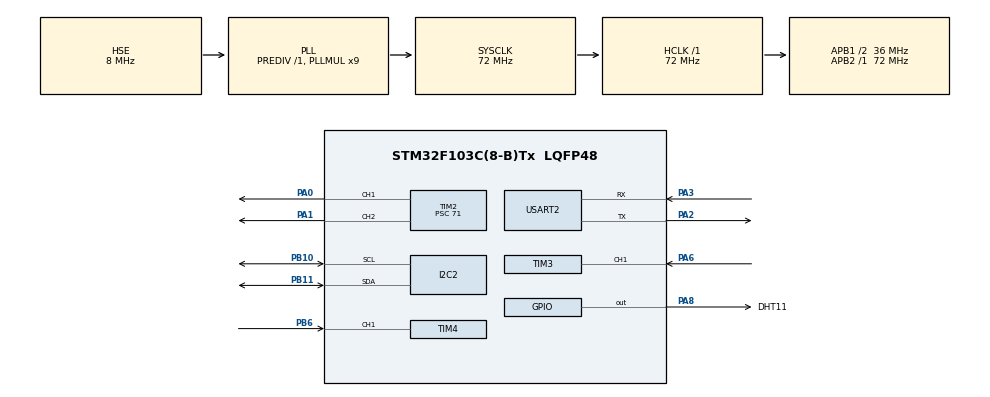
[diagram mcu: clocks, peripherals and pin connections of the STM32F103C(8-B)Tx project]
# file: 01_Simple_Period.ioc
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FREERTOS.Tasks01=defaultTask,-3,128,StartDefaultTask,Default,NULL,Dynamic,NULL,NULL;Task_Sensor_Dht,1,256,StartTask_Sensor_Dht,Default,NULL,Dynamic,NULL,NULL;Task_Fre_1,2,128,StartTaskFre_1,Default,NULL,Dynamic,NULL,NULL;Task_Fre_2,2,128,StartTaskFre_2,Default,NULL,Dynamic,NULL,NULL;Task_Lcd,0,128,StartTask05,Default,NULL,Dynamic,NULL,NULL;TaskUart,-1,128,StartTaskUart,Default,NULL,Dynamic,NULL,NULL
FREERTOS.configTOTAL_HEAP_SIZE=6000
Mcu.Family=STM32F1
Mcu.Name=STM32F103C(8-B)Tx
Mcu.Package=LQFP48
NVIC.PriorityGroup=NVIC_PRIORITYGROUP_4
NVIC.TIM1_UP_IRQn=true\:5\:0\:false\:false\:true\:true\:true\:true\:true
NVIC.TIM3_IRQn=true\:5\:0\:false\:false\:true\:true\:true\:true\:true
NVIC.TIM4_IRQn=true\:5\:0\:false\:false\:true\:true\:true\:true\:true
NVIC.USART2_IRQn=true\:5\:0\:false\:false\:true\:true\:true\:true\:true
PA0-WKUP.Signal=S_TIM2_CH1_ETR
PA1.Signal=S_TIM2_CH2
PA13.Mode=Serial_Wire
PA13.Signal=SYS_JTMS-SWDIO
PA14.Mode=Serial_Wire
PA14.Signal=SYS_JTCK-SWCLK
PA2.Mode=Asynchronous
PA2.Signal=USART2_TX
PA3.Mode=Asynchronous
PA3.Signal=USART2_RX
PA6.Signal=S_TIM3_CH1
PA8.GPIO_Label=DHT11
PA8.PinState=GPIO_PIN_SET
PA8.Signal=GPIO_Output
PB10.Mode=I2C
PB10.Signal=I2C2_SCL
PB11.Mode=I2C
PB11.Signal=I2C2_SDA
PB6.Signal=S_TIM4_CH1
PD0-OSC_IN.Mode=HSE-External-Oscillator
PD0-OSC_IN.Signal=RCC_OSC_IN
PD1-OSC_OUT.Mode=HSE-External-Oscillator
PD1-OSC_OUT.Signal=RCC_OSC_OUT
ProjectManager.HeapSize=0x200
ProjectManager.StackSize=0x400
ProjectManager.TargetToolchain=STM32CubeIDE
RCC.AHBFreq_Value=72000000
RCC.APB1CLKDivider=RCC_HCLK_DIV2
RCC.APB1Freq_Value=36000000
RCC.APB1TimFreq_Value=72000000
RCC.APB2Freq_Value=72000000
RCC.APB2TimFreq_Value=72000000
RCC.HCLKFreq_Value=72000000
RCC.PLLMUL=RCC_PLL_MUL9
RCC.PLLSourceVirtual=RCC_PLLSOURCE_HSE
RCC.SYSCLKFreq_VALUE=72000000
RCC.SYSCLKSource=RCC_SYSCLKSOURCE_PLLCLK
RCC.USBFreq_Value=72000000
SH.S_TIM2_CH1_ETR.0=TIM2_CH1,PWM Generation1 CH1
SH.S_TIM2_CH2.0=TIM2_CH2,PWM Generation2 CH2
SH.S_TIM3_CH1.0=TIM3_CH1,Input_Capture1_from_TI1
SH.S_TIM4_CH1.0=TIM4_CH1,Input_Capture1_from_TI1
TIM1.Period=49999
TIM1.Prescaler=7199
TIM2.Channel-PWM\ Generation1\ CH1=TIM_CHANNEL_1
TIM2.Channel-PWM\ Generation2\ CH2=TIM_CHANNEL_2
TIM2.Period=999
TIM2.Prescaler=71
TIM2.Pulse-PWM\ Generation1\ CH1=500
TIM2.Pulse-PWM\ Generation2\ CH2=300
TIM3.Channel-Input_Capture1_from_TI1=TIM_CHANNEL_1
TIM3.Prescaler=71
TIM4.Channel-Input_Capture1_from_TI1=TIM_CHANNEL_1
TIM4.Period=0xffff - 1
TIM4.Prescaler=72-1
USART2.VirtualMode=VM_ASYNC
VP_FREERTOS_VS_CMSIS_V1.Mode=CMSIS_V1
VP_TIM1_VS_ClockSourceINT.Mode=Internal
VP_TIM4_VS_ClockSourceINT.Mode=Internal
board=custom

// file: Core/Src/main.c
/* USER CODE BEGIN Header */
/**
  ******************************************************************************
  * @file           : main.c
  * @brief          : Main program body
  ******************************************************************************
  * @attention
  *
  * <h2><center>&copy; Copyright (c) 2020 STMicroelectronics.
  * All rights reserved.</center></h2>
  *
  * This software component is licensed by ST under BSD 3-Clause license,
  * the "License"; You may not use this file except in compliance with the
  * License. You may obtain a copy of the License at:
  *                        opensource.org/licenses/BSD-3-Clause
  *
  ******************************************************************************
  */
/* USER CODE END Header */
#include "main.h"
#include "cmsis_os.h"
#include "DHT11/DHT.h"
#include "UART/my_uart.h"
#include "Frequency/Frequency.h"
#include "LCD/LCD.h"
/* USER CODE BEGIN Includes */
//#include "DHT11/DHT.h"
/* USER CODE END Includes */

I2C_HandleTypeDef hi2c2;

TIM_HandleTypeDef htim1;
TIM_HandleTypeDef htim2;
TIM_HandleTypeDef htim3;
TIM_HandleTypeDef htim4;

UART_HandleTypeDef huart2;

osThreadId defaultTaskHandle;
osThreadId Task_Sensor_DhtHandle;
osThreadId Task_Fre_1Handle;
osThreadId Task_Fre_2Handle;
osThreadId Task_LcdHandle;
osThreadId TaskUartHandle;

//osSemaphoreId semFre1Handle;
//osSemaphoreId semFre2Handle;

/* USER CODE BEGIN PV */
//osMutexId dataMutexHandle;
//SensorData_t sharedData;
/* USER CODE END PV */

void SystemClock_Config(void);
static void MX_GPIO_Init(void);
static void MX_I2C2_Init(void);
static void MX_TIM4_Init(void);
static void MX_USART2_UART_Init(void);
static void MX_TIM2_Init(void);
static void MX_TIM3_Init(void);
static void MX_TIM1_Init(void);
void StartDefaultTask(void const * argument);
void StartTask_Sensor_Dht(void const * argument);
void StartTaskFre_1(void const * argument);
void StartTaskFre_2(void const * argument);
void StartTask05(void const * argument);
void StartTaskUart(void const * argument);

/* USER CODE BEGIN 0 */
typedef struct {
    float temperature;
    float humidity;
    uint32_t fre1;
    uint32_t fre2;
} SensorData_t;
//
//osMessageQId sensorQueueHandle;
//
//osMessageQId queue_DHT_to_Fre1Handle;
//osMessageQId queue_Fre1_to_Fre2Handle;
//osMessageQId queue_Fre2_to_LCDHandle;
//osMessageQId queue_LCD_to_UARTHandle;
osMutexId dataMutexHandle;
SensorData_t sharedData;

uint32_t delayTaskDHT = 1000;
uint32_t delayTaskFre1 = 800;
uint32_t delayTaskFre2 = 900;
uint32_t delayTaskLCD = 2000;
uint32_t delayTaskUART = 4000;

//osThreadId taskDHTHandle;
//osThreadId taskFre1Handle;
//osThreadId taskFre2Handle;
//osThreadId taskLCDHandle;
//osThreadId taskUARTHandle;
/* USER CODE END 0 */

int main(void)
{

  /* MCU Configuration--------------------------------------------------------*/

  /* Reset of all peripherals, Initializes the Flash interface and the Systick. */
  HAL_Init();

  /* Configure the system clock */
  SystemClock_Config();

  /* Initialize all configured peripherals */
  MX_GPIO_Init();
  MX_I2C2_Init();
  MX_TIM4_Init();
  MX_USART2_UART_Init();
  MX_TIM2_Init();
  MX_TIM3_Init();
  MX_TIM1_Init();
  /* USER CODE BEGIN 2 */
//  HAL_TIM_Base_Start(&htim4);
  HAL_TIM_Base_Start_IT(&htim1);
  HAL_TIM_PWM_Start(&htim2, TIM_CHANNEL_1);
  HAL_TIM_PWM_Start(&htim2, TIM_CHANNEL_2);
  Frequency1_Init(&htim3); // HAL_TIM_IC_Start_IT
  Frequency2_Init(&htim4);
  UART_StartReceive_IT();
  DHT11_Init(&htim4);
  LCD_Init(&hi2c2);

  osMutexDef(dataMutex);
  dataMutexHandle = osMutexCreate(osMutex(dataMutex));
  /* USER CODE END 2 */

  /* USER CODE BEGIN RTOS_QUEUES */
  /* USER CODE BEGIN RTOS_QUEUES */
  // Khởi tạo queue với kích thước phù hợp
//  osMessageQDef(sensorQueue, 4, SensorData_t);
//  sensorQueueHandle = osMessageCreate(osMessageQ(sensorQueue), NULL);

//  osMessageQDef(queue_DHT_to_Fre1, 4, SensorData_t);
//  queue_DHT_to_Fre1Handle = osMessageCreate(osMessageQ(queue_DHT_to_Fre1), NULL);
//
//  osMessageQDef(queue_Fre1_to_Fre2, 4, SensorData_t);
//  queue_Fre1_to_Fre2Handle = osMessageCreate(osMessageQ(queue_Fre1_to_Fre2), NULL);
//
//  osMessageQDef(queue_Fre2_to_LCD, 4, SensorData_t);
//  queue_Fre2_to_LCDHandle = osMessageCreate(osMessageQ(queue_Fre2_to_LCD), NULL);
//
//  osMessageQDef(queue_LCD_to_UART, 4, SensorData_t);
//  queue_LCD_to_UARTHandle = osMessageCreate(osMessageQ(queue_LCD_to_UART), NULL);

  /* USER CODE END RTOS_QUEUES */

  /* Create the thread(s) */
  /* definition and creation of defaultTask */
  osThreadDef(defaultTask, StartDefaultTask, osPriorityIdle, 0, 128);
  defaultTaskHandle = osThreadCreate(osThread(defaultTask), NULL);

  /* definition and creation of Task_Sensor_Dht */
  osThreadDef(Task_Sensor_Dht, StartTask_Sensor_Dht, osPriorityAboveNormal, 0, 256);
  Task_Sensor_DhtHandle = osThreadCreate(osThread(Task_Sensor_Dht), NULL);

  /* definition and creation of Task_Fre_1 */
  osThreadDef(Task_Fre_1, StartTaskFre_1, osPriorityHigh, 0, 128);
  Task_Fre_1Handle = osThreadCreate(osThread(Task_Fre_1), NULL);

  /* definition and creation of Task_Fre_2 */
  osThreadDef(Task_Fre_2, StartTaskFre_2, osPriorityHigh, 0, 128);
  Task_Fre_2Handle = osThreadCreate(osThread(Task_Fre_2), NULL);

  /* definition and creation of Task_Lcd */
  osThreadDef(Task_Lcd, StartTask05, osPriorityNormal, 0, 128);
  Task_LcdHandle = osThreadCreate(osThread(Task_Lcd), NULL);

  /* definition and creation of TaskUart */
  osThreadDef(TaskUart, StartTaskUart, osPriorityBelowNormal, 0, 128);
  TaskUartHandle = osThreadCreate(osThread(TaskUart), NULL);

  /* Start scheduler */
  osKernelStart();

  /* We should never get here as control is now taken by the scheduler */
  /* Infinite loop */
  while (1)
  {

}
}
void SystemClock_Config(void)
{
  RCC_OscInitTypeDef RCC_OscInitStruct = {0};
  RCC_ClkInitTypeDef RCC_ClkInitStruct = {0};

  /** Initializes the RCC Oscillators according to the specified parameters
  * in the RCC_OscInitTypeDef structure.
  */
  RCC_OscInitStruct.OscillatorType = RCC_OSCILLATORTYPE_HSE;
  RCC_OscInitStruct.HSEState = RCC_HSE_ON;
  RCC_OscInitStruct.HSEPredivValue = RCC_HSE_PREDIV_DIV1;
  RCC_OscInitStruct.HSIState = RCC_HSI_ON;
  RCC_OscInitStruct.PLL.PLLState = RCC_PLL_ON;
  RCC_OscInitStruct.PLL.PLLSource = RCC_PLLSOURCE_HSE;
  RCC_OscInitStruct.PLL.PLLMUL = RCC_PLL_MUL9;
  if (HAL_RCC_OscConfig(&RCC_OscInitStruct) != HAL_OK)
  {
    Error_Handler();
  }

  /** Initializes the CPU, AHB and APB buses clocks
  */
  RCC_ClkInitStruct.ClockType = RCC_CLOCKTYPE_HCLK|RCC_CLOCKTYPE_SYSCLK
                              |RCC_CLOCKTYPE_PCLK1|RCC_CLOCKTYPE_PCLK2;
  RCC_ClkInitStruct.SYSCLKSource = RCC_SYSCLKSOURCE_PLLCLK;
  RCC_ClkInitStruct.AHBCLKDivider = RCC_SYSCLK_DIV1;
  RCC_ClkInitStruct.APB1CLKDivider = RCC_HCLK_DIV2;
  RCC_ClkInitStruct.APB2CLKDivider = RCC_HCLK_DIV1;

  if (HAL_RCC_ClockConfig(&RCC_ClkInitStruct, FLASH_LATENCY_2) != HAL_OK)
  {
    Error_Handler();
  }
}

void MX_I2C2_Init(void)
{

  hi2c2.Instance = I2C2;
  hi2c2.Init.ClockSpeed = 100000;
  hi2c2.Init.DutyCycle = I2C_DUTYCYCLE_2;
  hi2c2.Init.OwnAddress1 = 0;
  hi2c2.Init.AddressingMode = I2C_ADDRESSINGMODE_7BIT;
  hi2c2.Init.DualAddressMode = I2C_DUALADDRESS_DISABLE;
  hi2c2.Init.OwnAddress2 = 0;
  hi2c2.Init.GeneralCallMode = I2C_GENERALCALL_DISABLE;
  hi2c2.Init.NoStretchMode = I2C_NOSTRETCH_DISABLE;
  if (HAL_I2C_Init(&hi2c2) != HAL_OK)
  {
    Error_Handler();
  }

}

void MX_TIM1_Init(void)
{

  TIM_ClockConfigTypeDef sClockSourceConfig = {0};
  TIM_MasterConfigTypeDef sMasterConfig = {0};

  htim1.Instance = TIM1;
  htim1.Init.Prescaler = 7199;
  htim1.Init.CounterMode = TIM_COUNTERMODE_UP;
  htim1.Init.Period = 49999;
  htim1.Init.ClockDivision = TIM_CLOCKDIVISION_DIV1;
  htim1.Init.RepetitionCounter = 0;
  htim1.Init.AutoReloadPreload = TIM_AUTORELOAD_PRELOAD_DISABLE;
  if (HAL_TIM_Base_Init(&htim1) != HAL_OK)
  {
    Error_Handler();
  }
  sClockSourceConfig.ClockSource = TIM_CLOCKSOURCE_INTERNAL;
  if (HAL_TIM_ConfigClockSource(&htim1, &sClockSourceConfig) != HAL_OK)
  {
    Error_Handler();
  }
  sMasterConfig.MasterOutputTrigger = TIM_TRGO_RESET;
  sMasterConfig.MasterSlaveMode = TIM_MASTERSLAVEMODE_DISABLE;
  if (HAL_TIMEx_MasterConfigSynchronization(&htim1, &sMasterConfig) != HAL_OK)
  {
    Error_Handler();
  }

}

 void MX_TIM2_Init(void)
{

  TIM_MasterConfigTypeDef sMasterConfig = {0};
  TIM_OC_InitTypeDef sConfigOC = {0};

  htim2.Instance = TIM2;
  htim2.Init.Prescaler = 71;
  htim2.Init.CounterMode = TIM_COUNTERMODE_UP;
  htim2.Init.Period = 999;
  htim2.Init.ClockDivision = TIM_CLOCKDIVISION_DIV1;
  htim2.Init.AutoReloadPreload = TIM_AUTORELOAD_PRELOAD_DISABLE;
  if (HAL_TIM_PWM_Init(&htim2) != HAL_OK)
  {
    Error_Handler();
  }
  sMasterConfig.MasterOutputTrigger = TIM_TRGO_RESET;
  sMasterConfig.MasterSlaveMode = TIM_MASTERSLAVEMODE_DISABLE;
  if (HAL_TIMEx_MasterConfigSynchronization(&htim2, &sMasterConfig) != HAL_OK)
  {
    Error_Handler();
  }
  sConfigOC.OCMode = TIM_OCMODE_PWM1;
  sConfigOC.Pulse = 500;
  sConfigOC.OCPolarity = TIM_OCPOLARITY_HIGH;
  sConfigOC.OCFastMode = TIM_OCFAST_DISABLE;
  if (HAL_TIM_PWM_ConfigChannel(&htim2, &sConfigOC, TIM_CHANNEL_1) != HAL_OK)
  {
    Error_Handler();
  }
  sConfigOC.Pulse = 300;
  if (HAL_TIM_PWM_ConfigChannel(&htim2, &sConfigOC, TIM_CHANNEL_2) != HAL_OK)
  {
    Error_Handler();
  }
  HAL_TIM_MspPostInit(&htim2);

}

void MX_TIM3_Init(void)
{

  TIM_MasterConfigTypeDef sMasterConfig = {0};
  TIM_IC_InitTypeDef sConfigIC = {0};

  htim3.Instance = TIM3;
  htim3.Init.Prescaler = 71;
  htim3.Init.CounterMode = TIM_COUNTERMODE_UP;
  htim3.Init.Period = 65535;
  htim3.Init.ClockDivision = TIM_CLOCKDIVISION_DIV1;
  htim3.Init.AutoReloadPreload = TIM_AUTORELOAD_PRELOAD_DISABLE;
  if (HAL_TIM_IC_Init(&htim3) != HAL_OK)
  {
    Error_Handler();
  }
  sMasterConfig.MasterOutputTrigger = TIM_TRGO_RESET;
  sMasterConfig.MasterSlaveMode = TIM_MASTERSLAVEMODE_DISABLE;
  if (HAL_TIMEx_MasterConfigSynchronization(&htim3, &sMasterConfig) != HAL_OK)
  {
    Error_Handler();
  }
  sConfigIC.ICPolarity = TIM_INPUTCHANNELPOLARITY_RISING;
  sConfigIC.ICSelection = TIM_ICSELECTION_DIRECTTI;
  sConfigIC.ICPrescaler = TIM_ICPSC_DIV1;
  sConfigIC.ICFilter = 0;
  if (HAL_TIM_IC_ConfigChannel(&htim3, &sConfigIC, TIM_CHANNEL_1) != HAL_OK)
  {
    Error_Handler();
  }

}

void MX_TIM4_Init(void)
{

  TIM_ClockConfigTypeDef sClockSourceConfig = {0};
  TIM_MasterConfigTypeDef sMasterConfig = {0};
  TIM_IC_InitTypeDef sConfigIC = {0};

  htim4.Instance = TIM4;
  htim4.Init.Prescaler = 72-1;
  htim4.Init.CounterMode = TIM_COUNTERMODE_UP;
  htim4.Init.Period = 0xffff - 1;
  htim4.Init.ClockDivision = TIM_CLOCKDIVISION_DIV1;
  htim4.Init.AutoReloadPreload = TIM_AUTORELOAD_PRELOAD_DISABLE;
  if (HAL_TIM_Base_Init(&htim4) != HAL_OK)
  {
    Error_Handler();
  }
  sClockSourceConfig.ClockSource = TIM_CLOCKSOURCE_INTERNAL;
  if (HAL_TIM_ConfigClockSource(&htim4, &sClockSourceConfig) != HAL_OK)
  {
    Error_Handler();
  }
  if (HAL_TIM_IC_Init(&htim4) != HAL_OK)
  {
    Error_Handler();
  }
  sMasterConfig.MasterOutputTrigger = TIM_TRGO_RESET;
  sMasterConfig.MasterSlaveMode = TIM_MASTERSLAVEMODE_DISABLE;
  if (HAL_TIMEx_MasterConfigSynchronization(&htim4, &sMasterConfig) != HAL_OK)
  {
    Error_Handler();
  }
  sConfigIC.ICPolarity = TIM_INPUTCHANNELPOLARITY_RISING;
  sConfigIC.ICSelection = TIM_ICSELECTION_DIRECTTI;
  sConfigIC.ICPrescaler = TIM_ICPSC_DIV1;
  sConfigIC.ICFilter = 0;
  if (HAL_TIM_IC_ConfigChannel(&htim4, &sConfigIC, TIM_CHANNEL_1) != HAL_OK)
  {
    Error_Handler();
  }

}

void MX_USART2_UART_Init(void)
{

  huart2.Instance = USART2;
  huart2.Init.BaudRate = 115200;
  huart2.Init.WordLength = UART_WORDLENGTH_8B;
  huart2.Init.StopBits = UART_STOPBITS_1;
  huart2.Init.Parity = UART_PARITY_NONE;
  huart2.Init.Mode = UART_MODE_TX_RX;
  huart2.Init.HwFlowCtl = UART_HWCONTROL_NONE;
  huart2.Init.OverSampling = UART_OVERSAMPLING_16;
  if (HAL_UART_Init(&huart2) != HAL_OK)
  {
    Error_Handler();
  }

}

void MX_GPIO_Init(void)
{
  GPIO_InitTypeDef GPIO_InitStruct = {0};

  /* GPIO Ports Clock Enable */
  __HAL_RCC_GPIOD_CLK_ENABLE();
  __HAL_RCC_GPIOA_CLK_ENABLE();
  __HAL_RCC_GPIOB_CLK_ENABLE();

  /*Configure GPIO pin Output Level */
  HAL_GPIO_WritePin(DHT11_GPIO_Port, DHT11_Pin, GPIO_PIN_SET);

  /*Configure GPIO pin : DHT11_Pin */
  GPIO_InitStruct.Pin = DHT11_Pin;
  GPIO_InitStruct.Mode = GPIO_MODE_OUTPUT_PP;
  GPIO_InitStruct.Pull = GPIO_NOPULL;
  GPIO_InitStruct.Speed = GPIO_SPEED_FREQ_LOW;
  HAL_GPIO_Init(DHT11_GPIO_Port, &GPIO_InitStruct);

}

void StartDefaultTask(void const * argument)
{
  for(;;)
  {
    osDelay(1);
  }
}

//void StartTask_Sensor_Dht(void const * argument)
//{
//  /* USER CODE BEGIN StartTask_Sensor_Dht */
////	UART_SendString(&huart2, "StartTask_Sensor_Dht");
////	float temperature = 0, humidity = 0;
////	uint8_t DHT_OK = 1;
////	SensorData_t data;
////  /* Infinite loop */
////  for(;;)
////  {
////	if(DHT11_Read(&temperature, &humidity) == DHT_OK) {
////        data.temperature = temperature;
////        data.humidity = humidity;
////        UART_SendInt(&huart2, data.humidity);
////        UART_SendInt(&huart2, data.temperature);
////        UART_SendString(&huart2, "PreOngoingTask_Sensor_Dht");
////		osMessagePut(sensorQueueHandle, (uint32_t)&data, osWaitForever);
////		UART_SendString(&huart2, "OngoingTask_Sensor_Dht");
////	}
////	else {
////		UART_SendString(&huart2, "Read data failed");
////	}
////    osDelay(2000);
////    UART_SendString(&huart2, "EndTask_Sensor_Dht");
////  }
//  /* USER CODE END StartTask_Sensor_Dht */
//}
//
///* USER CODE BEGIN Header_StartTaskFre_1 */
/////**
////* @brief Function implementing the Task_Fre_1 thread.
////* @param argument: Not used
////* @retval None
////*/
///* USER CODE END Header_StartTaskFre_1 */
//void StartTaskFre_1(void const * argument)
//{
//  /* USER CODE BEGIN StartTaskFre_1 */
////	UART_SendString(&huart2, "StartTask_Fre");
////    SensorData_t data;
////    osEvent evt;
////    for(;;)
////    {
////        evt = osMessageGet(sensorQueueHandle, osWaitForever);
////        if(evt.status == osEventMessage) {
////            data = *(SensorData_t*)evt.value.p;
////            data.fre1 = Frequency1_Read(); // �?�?c tần số fre1
////            osMessagePut(sensorQueueHandle, (uint32_t)&data, osWaitForever);
////            UART_SendString(&huart2, "OngoingTask_Sensor_Dht");
////        }
////        osDelay(1000);
////    }
//  /* USER CODE END StartTaskFre_1 */
//}
//
///* USER CODE BEGIN Header_StartTaskFre_2 */
/////**
////* @brief Function implementing the Task_Fre_2 thread.
////* @param argument: Not used
////* @retval None
////*/
///* USER CODE END Header_StartTaskFre_2 */
//void StartTaskFre_2(void const * argument)
//{
//  /* USER CODE BEGIN StartTaskFre_2 */
////	UART_SendString(&huart2, "StartTask_Fre2");
////    SensorData_t data;
////    osEvent evt;
////    for(;;)
////    {
////        evt = osMessageGet(sensorQueueHandle, osWaitForever);
////        if(evt.status == osEventMessage) {
////            data = *(SensorData_t*)evt.value.p;
////            data.fre2 = Frequency2_Read(); // �?�?c tần số fre2
////            osMessagePut(sensorQueueHandle, (uint32_t)&data, osWaitForever);
////        }
////        osDelay(1000);
////        UART_SendString(&huart2, "EndTask_Fre");
////    }
//  /* USER CODE END StartTaskFre_2 */
//}
//
///* USER CODE BEGIN Header_StartTask05 */
/////**
////* @brief Function implementing the Task_Lcd thread.
////* @param argument: Not used
////* @retval None
////*/
///* USER CODE END Header_StartTask05 */
//void StartTask05(void const * argument)
//{
//  /* USER CODE BEGIN StartTask05 */
////	UART_SendString(&huart2, "StartTask_LCD");
////    SensorData_t data;
////    osEvent evt;
////    for(;;)
////    {
////        evt = osMessageGet(sensorQueueHandle, osWaitForever);
////        if(evt.status == osEventMessage) {
////            data = *(SensorData_t*)evt.value.p;
////            LCD_PrintFloat(0, 0, "Temp", data.temperature, "C");
////            LCD_PrintFloat(1, 0, "Hum", data.humidity, "%");
////            osMessagePut(sensorQueueHandle, (uint32_t)&data, osWaitForever);
////        }
////        osDelay(1000);
////    }
//  /* USER CODE END StartTask05 */
//}
//
///* USER CODE BEGIN Header_StartTaskUart */
/////**
////* @brief Function implementing the TaskUart thread.
////* @param argument: Not used
////* @retval None
////*/
///* USER CODE END Header_StartTaskUart */
//void StartTaskUart(void const * argument)
//{
//  /* USER CODE BEGIN StartTaskUart */
////	UART_SendString(&huart2, "StartTask_UART");
////	 SensorData_t data;
////	    osEvent evt;
////	    for(;;)
////	    {
////	        evt = osMessageGet(sensorQueueHandle, osWaitForever);
////	        if(evt.status == osEventMessage) {
////	            data = *(SensorData_t*)evt.value.p;
////	            UART_SendInt(&huart2, data.temperature);
////	            UART_SendInt(&huart2, data.humidity);
////	            UART_SendInt(&huart2, data.fre1);
////	            UART_SendInt(&huart2, data.fre2);
////	            // Không gửi lại queue nữa, kết thúc chu trình
////	        }
////	        osDelay(2000);
////	    }
//  /* USER CODE END StartTaskUart */
//}
void StartTask_Sensor_Dht(void const * argument)
{
	UART_SendString(&huart2, "StartTask_DHT\r\n");
    float temperature = 0, humidity = 0;
    for(;;)
    {
    	 UART_SendString(&huart2, "Task_DHT: Loop\r\n");
        if(DHT11_Read(&temperature, &humidity) == 1) {
            osMutexWait(dataMutexHandle, osWaitForever);
            sharedData.temperature = temperature;
            sharedData.humidity = humidity;
            osMutexRelease(dataMutexHandle);
        }
        osDelay(delayTaskDHT);
    }
}
void StartTaskFre_1(void const * argument)
{
	UART_SendString(&huart2, "StartTask_Fre1\r\n");
    for(;;)
    {
    	 UART_SendString(&huart2, "Task_Fre1: Loop\r\n");
        osMutexWait(dataMutexHandle, osWaitForever);
        sharedData.fre1 = Frequency1_Read();
        osMutexRelease(dataMutexHandle);
        osDelay(delayTaskFre1);
    }
}
void StartTaskFre_2(void const * argument)
{
	UART_SendString(&huart2, "StartTask_Fre2\r\n");
    for(;;)
    {
    	 UART_SendString(&huart2, "Task_Fre2: Loop\r\n");
        osMutexWait(dataMutexHandle, osWaitForever);
        sharedData.fre2 = Frequency2_Read();
        osMutexRelease(dataMutexHandle);
        osDelay(delayTaskFre2);
    }
}
void StartTask05(void const * argument)
{
	UART_SendString(&huart2, "StartTask_LCD\r\n");
    SensorData_t temp;
    for(;;)
    {
    	 UART_SendString(&huart2, "Task_LCD: Loop\r\n");
        osMutexWait(dataMutexHandle, osWaitForever);
        temp = sharedData;
        osMutexRelease(dataMutexHandle);

        LCD_PrintFloat(0, 0, "Temp", temp.temperature, "C");
        LCD_PrintFloat(1, 0, "Hum", temp.humidity, "%");
        osDelay(delayTaskLCD);
    }
}
void StartTaskUart(void const * argument)
{
	UART_SendString(&huart2, "StartTask_UART\r\n");
    SensorData_t temp;
    for(;;)
    {
    	 UART_SendString(&huart2, "Task_UART: Loop\r\n");
        osMutexWait(dataMutexHandle, osWaitForever);
        temp = sharedData;
        osMutexRelease(dataMutexHandle);
        UART_SendString(&huart2, " \r\n Temp: ");
        UART_SendInt(&huart2, temp.temperature);
        UART_SendString(&huart2, " | Hum: ");
        UART_SendInt(&huart2, temp.humidity);
        UART_SendString(&huart2, " | Fre1: ");
        UART_SendInt(&huart2, temp.fre1);
        UART_SendString(&huart2, " | Fre2: ");
        UART_SendInt(&huart2, temp.fre2);
        osDelay(delayTaskUART);
    }
}
void Error_Handler(void)
{
}
